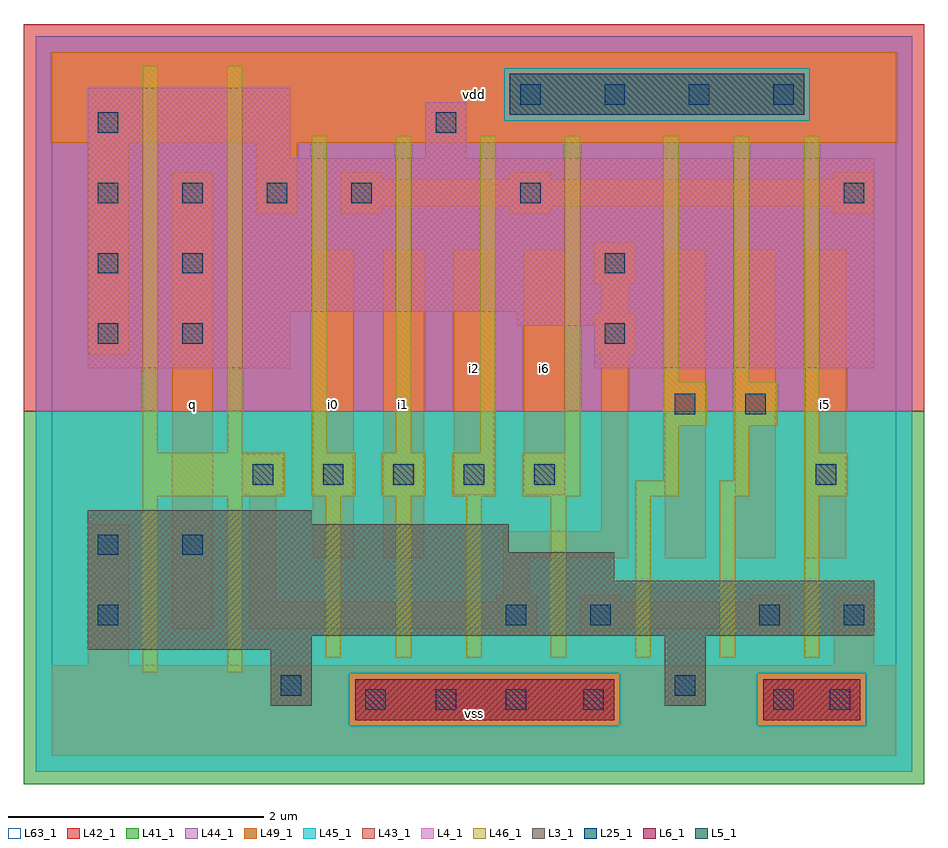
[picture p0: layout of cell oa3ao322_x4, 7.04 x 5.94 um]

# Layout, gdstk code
import gdstk
lib = gdstk.Library(unit=1e-6, precision=1e-09)
def R(c, l, rs):  # rectangles x0, y0, x1, y1
    for r in rs: c.add(gdstk.rectangle(r[:2], r[2:], *l))
def A(c, l, x, y, w, h, nx, ny, dx, dy):  # array of equal rectangles
    R(c, l, [(x+i*dx, y+j*dy, x+i*dx+w, y+j*dy+h) for i in range(nx) for j in range(ny)])
L3_1 = (3, 1)
L4_1 = (4, 1)
L5_1 = (5, 1)
L6_1 = (6, 1)
L25_1 = (25, 1)
L41_1 = (41, 1)
L42_1 = (42, 1)
L43_1 = (43, 1)
L44_1 = (44, 1)
L45_1 = (45, 1)
L46_1 = (46, 1)
L49_1 = (49, 1)
L63_1 = (63, 1)

oa3ao322_x4 = lib.new_cell('oa3ao322_x4')
R(oa3ao322_x4, L3_1, [(1.71,0.39,2.03,0.83), (4.79,0.39,5.11,0.94), (0.28,0.83,2.03,0.94), (0.28,0.94,6.43,1.37), (0.28,1.37,4.395,1.59), (0.28,1.59,3.57,1.81), (0.28,1.81,2.03,1.92)])
R(oa3ao322_x4, L4_1, [(0.28,3.03,1.865,3.47), (4.24,3.03,6.43,3.36), (3.635,3.36,6.43,3.47), (0.28,3.47,6.43,4.67), (0.28,4.67,1.865,5.22), (2.92,4.67,3.24,5.11)])
R(oa3ao322_x4, L5_1, [(3.58,5.01,5.88,5.33)])
R(oa3ao322_x4, L6_1, [(2.37,0.28,4.395,0.6), (5.56,0.28,6.32,0.6)])
A(oa3ao322_x4, L25_1, 2.45, 0.36, 0.16, 0.16, 3, 1, 0.55, 0)
A(oa3ao322_x4, L25_1, 1.57, 2.12, 0.16, 0.16, 5, 1, 0.55, 0)
A(oa3ao322_x4, L25_1, 0.36, 4.32, 0.16, 0.16, 4, 1, 0.66, 0)
A(oa3ao322_x4, L25_1, 3.66, 5.09, 0.16, 0.16, 4, 1, 0.66, 0)
R(oa3ao322_x4, L25_1, [(4.155,0.36,4.315,0.52), (5.64,0.36,5.8,0.52), (6.08,0.36,6.24,0.52), (1.79,0.47,1.95,0.63), (4.87,0.47,5.03,0.63), (0.36,1.02,0.52,1.18), (3.55,1.02,3.71,1.18), (4.21,1.02,4.37,1.18), (5.53,1.02,5.69,1.18), (6.19,1.02,6.35,1.18), (0.36,1.57,0.52,1.73), (1.02,1.57,1.18,1.73), (5.97,2.12,6.13,2.28), (4.87,2.67,5.03,2.83), (5.42,2.67,5.58,2.83), (0.36,3.22,0.52,3.38), (1.02,3.22,1.18,3.38), (4.32,3.22,4.48,3.38), (0.36,3.77,0.52,3.93), (1.02,3.77,1.18,3.93), (4.32,3.77,4.48,3.93), (3.66,4.32,3.82,4.48), (6.19,4.32,6.35,4.48), (0.36,4.87,0.52,5.03), (3,4.87,3.16,5.03)])
R(oa3ao322_x4, L41_1, [(-0.22,-0.22,6.82,2.695)])
R(oa3ao322_x4, L42_1, [(-0.22,2.695,6.82,5.72)])
R(oa3ao322_x4, L43_1, [(2.37,0.28,4.395,0.6), (5.56,0.28,6.32,0.6), (1.71,0.39,2.03,0.83), (4.79,0.39,5.11,0.94), (0.28,0.83,2.03,0.94), (0.28,0.94,6.43,1.37), (0.28,1.37,4.395,1.59), (0.28,1.59,3.57,1.81), (0.28,1.81,2.03,1.92), (0.28,3.03,1.865,3.47), (4.24,3.03,6.43,3.36), (3.635,3.36,6.43,3.47), (0.28,3.47,6.43,4.67), (0.28,4.67,1.865,5.22), (2.92,4.67,3.24,5.11), (3.58,5.01,5.88,5.33)])
R(oa3ao322_x4, L44_1, [(2.325,0.235,4.44,0.645), (5.515,0.235,6.365,0.645), (-0.125,2.695,6.725,4.965), (-0.125,4.965,3.535,5.375), (5.925,4.965,6.725,5.375), (-0.125,5.375,6.725,5.625)])
R(oa3ao322_x4, L45_1, [(-0.125,-0.125,6.725,0.235), (-0.125,0.235,2.325,0.645), (4.44,0.235,5.515,0.645), (6.365,0.235,6.725,0.645), (-0.125,0.645,6.725,2.695), (3.535,4.965,5.925,5.375)])
A(oa3ao322_x4, L46_1, 2.14, 0.765, 0.12, 1.265, 3, 1, 0.55, 0)
A(oa3ao322_x4, L46_1, 3.9, 0.765, 0.12, 1.265, 4, 1, 0.66, 0)
A(oa3ao322_x4, L46_1, 2.03, 2.03, 0.34, 0.34, 3, 1, 0.55, 0)
A(oa3ao322_x4, L46_1, 2.03, 2.37, 0.12, 2.475, 4, 1, 0.66, 0)
R(oa3ao322_x4, L46_1, [(0.71,0.655,0.83,2.03), (1.37,0.655,1.49,2.03), (0.71,2.03,1.82,2.37), (3.68,2.03,4.13,2.37), (4.56,2.03,4.9,2.15), (5.22,2.03,5.45,2.15), (5.88,2.03,6.22,2.37), (4.78,2.15,4.9,2.58), (5.33,2.15,5.45,2.58), (0.71,2.37,0.83,5.395), (1.37,2.37,1.49,5.395), (5.88,2.37,6,4.845), (4.78,2.58,5.12,2.92), (5.33,2.58,5.67,2.92), (4.78,2.92,4.9,4.845), (5.33,2.92,5.45,4.845)])
A(oa3ao322_x4, L49_1, 4.79, 1.545, 0.32, 2.41, 3, 1, 0.55, 0)
R(oa3ao322_x4, L49_1, [(0,0,6.6,0.71), (0.28,0.71,0.6,1.81), (6.11,0.71,6.43,1.26), (3.47,0.94,3.79,0.995), (4.13,0.94,4.45,0.995), (5.45,0.94,5.77,0.995), (0.94,0.995,1.26,4.56), (1.545,0.995,3.79,1.205), (4.13,0.995,5.77,1.205), (1.545,1.205,1.755,2.04), (3.47,1.205,3.79,1.26), (4.13,1.205,4.45,1.26), (5.45,1.205,5.77,1.26), (3.525,1.26,3.735,1.545), (2.04,1.545,2.36,3.955), (2.59,1.545,2.91,3.955), (3.525,1.545,4.505,1.755), (4.295,1.755,4.505,3.14), (1.49,2.04,1.81,2.36), (3.14,2.04,3.46,3.955), (3.69,2.04,4.01,3.955), (0.28,3.14,0.6,4.79), (4.24,3.14,4.56,3.46), (4.295,3.46,4.505,3.69), (4.24,3.69,4.56,4.01), (1.6,4.24,1.92,4.79), (2.26,4.24,2.58,4.295), (3.58,4.24,3.9,4.295), (6.11,4.24,6.43,4.295), (2.26,4.295,6.43,4.505), (2.26,4.505,2.58,4.56), (3.58,4.505,3.9,4.56), (6.11,4.505,6.43,4.56), (0,4.79,6.6,5.5)])
R(oa3ao322_x4, L63_1, [(0,0,6.6,5.5)])
oa3ao322_x4.add(gdstk.Label('q', (1.1,2.75), layer=49, texttype=1))
oa3ao322_x4.add(gdstk.Label('q', (1.1,2.75), layer=49, texttype=1))
oa3ao322_x4.add(gdstk.Label('i0', (2.2,2.75), layer=49, texttype=1))
oa3ao322_x4.add(gdstk.Label('i0', (2.2,2.75), layer=49, texttype=1))
oa3ao322_x4.add(gdstk.Label('vss', (3.3,0.33), layer=49, texttype=1))
oa3ao322_x4.add(gdstk.Label('vss', (3.3,0.33), layer=49, texttype=1))
oa3ao322_x4.add(gdstk.Label('i1', (2.75,2.75), layer=49, texttype=1))
oa3ao322_x4.add(gdstk.Label('i1', (2.75,2.75), layer=49, texttype=1))
oa3ao322_x4.add(gdstk.Label('i6', (3.85,3.025), layer=49, texttype=1))
oa3ao322_x4.add(gdstk.Label('i2', (3.3,3.025), layer=49, texttype=1))
oa3ao322_x4.add(gdstk.Label('i6', (3.85,3.025), layer=49, texttype=1))
oa3ao322_x4.add(gdstk.Label('i2', (3.3,3.025), layer=49, texttype=1))
oa3ao322_x4.add(gdstk.Label('vdd', (3.3,5.17), layer=49, texttype=1))
oa3ao322_x4.add(gdstk.Label('vdd', (3.3,5.17), layer=49, texttype=1))
oa3ao322_x4.add(gdstk.Label('i5', (6.05,2.75), layer=49, texttype=1))
oa3ao322_x4.add(gdstk.Label('i5', (6.05,2.75), layer=49, texttype=1))

lib.write_gds('oa3ao322_x4.gds')
